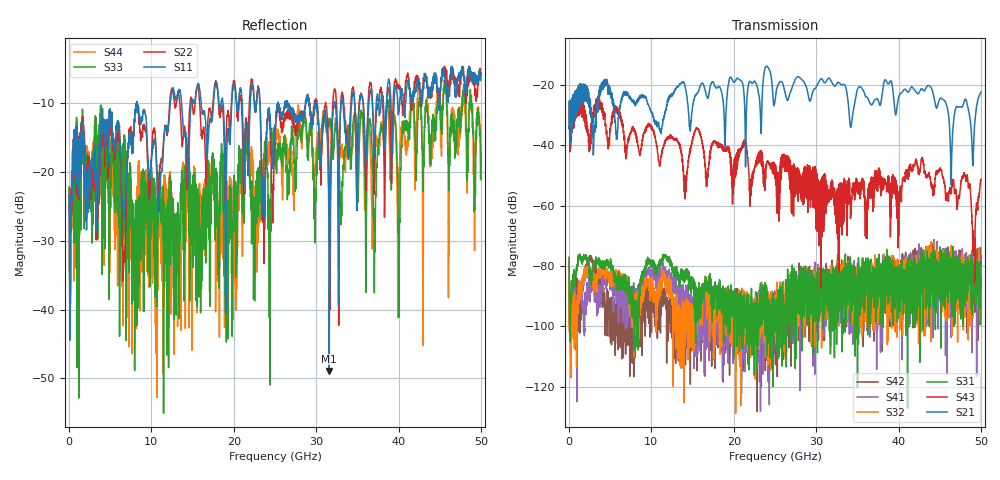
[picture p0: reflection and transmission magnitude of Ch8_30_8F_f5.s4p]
!Agilent Technologies,N5247A,US51170199,A.09.90.13
!Agilent N5247A: A.09.90.13
!Date: Wednesday, December 16, 2015 10:26:56
!Correction: S11(Full 4 Port(1,2,3,4))
!S12(Full 4 Port(1,2,3,4))
!S13(Full 4 Port(1,2,3,4))
!S14(Full 4 Port(1,2,3,4))
!S21(Full 4 Port(1,2,3,4))
!S22(Full 4 Port(1,2,3,4))
!S23(Full 4 Port(1,2,3,4))
!S24(Full 4 Port(1,2,3,4))
!S31(Full 4 Port(1,2,3,4))
!S32(Full 4 Port(1,2,3,4))
!S33(Full 4 Port(1,2,3,4))
!S34(Full 4 Port(1,2,3,4))
!S41(Full 4 Port(1,2,3,4))
!S42(Full 4 Port(1,2,3,4))
!S43(Full 4 Port(1,2,3,4))
!S44(Full 4 Port(1,2,3,4))
!S4P File: Measurements: <S11,S12,S13,S14>,
!<S21,S22,S23,S24>,
!<S31,S32,S33,S34>,
!<S41,S42,S43,S44>:
# Hz S  dB  R 50
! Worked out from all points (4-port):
!   3201 points, 10 MHz to 50 GHz, reference 50 ohm
!   strongest paths, dB at 10 MHz, 12.51 GHz, 25 GHz, 37.5 GHz, 50 GHz:
!     S21: -34.4, -23.5, -25.4, -24.8, -22.3
!     S43: -34.5, -37.3, -46.9, -48.5, -51.4
!     S31: -77.0, -80.8, -95.8, -84.1, -99.3
!     S32: -101.7, -90.6, -94.2, -96.7, -88.1
!     S41: -93.1, -86.2, -94.2, -82.1, -82.2
!     S42: -77.3, -93.5, -95.4, -89.2, -76.5
!   lowest |S11| = -48.9 dB at 31.58 GHz (marker M1), VSWR 1.01, Z = 50.3 + j0.107 ohm
!   |S11| at or under -10 dB: start of sweep to 8.215 GHz; 8.249 GHz to 12.28 GHz (4.028 GHz wide, 39.2 % of centre); 23.18 GHz to 25.36 GHz (2.175 GHz wide, 8.96 % of centre)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
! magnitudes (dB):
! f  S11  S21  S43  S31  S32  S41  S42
! 10 MHz  -23.7  -34.4  -34.5  -77.0  -101.7  -93.1  -77.3
! 14.13 GHz  -14.2  -21.2  -51.6  -82.6  -106.5  -92.5  -112.8
! 15.66 GHz  -7.1  -22.3  -34.7  -89.7  -92.5  -101.6  -95.2
! 31.58 GHz  -48.9  -17.7  -56.5  -89.8  -93.9  -83.0  -89.7
! 46.41 GHz  -5.1  -50.2  -55.3  -82.5  -81.0  -103.6  -93.4
! 49.13 GHz  -6.9  -38.9  -71.0  -87.8  -88.1  -80.0  -83.8
! 50 GHz  -5.7  -22.3  -51.4  -99.3  -88.1  -82.2  -76.5
